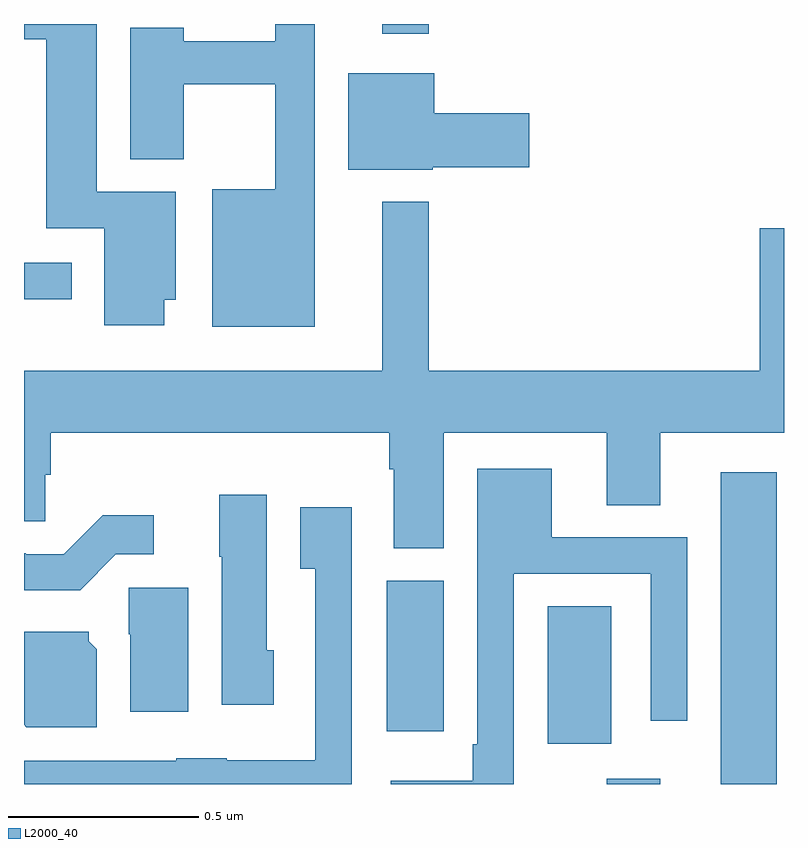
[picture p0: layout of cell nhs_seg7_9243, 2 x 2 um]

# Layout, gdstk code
import gdstk
lib = gdstk.Library(unit=1e-6, precision=1e-09)
def R(c, l, rs):  # rectangles x0, y0, x1, y1
    for r in rs: c.add(gdstk.rectangle(r[:2], r[2:], *l))
def P(c, l, *ps):  # polygons
    for p in ps: c.add(gdstk.Polygon(p, *l))
L2000_40 = (2000, 40)

nhs_seg7_9243 = lib.new_cell('nhs_seg7_9243')
R(nhs_seg7_9243, L2000_40, [(236.534,1025,236.674,1025.014), (236.834,1025,236.981,1025.821), (236.378,1025.106,236.545,1025.468), (235.955,1025.139,236.104,1025.535), (235,1026.276,235.126,1026.372), (235.943,1026.975,236.065,1027)])
P(nhs_seg7_9243, L2000_40, [(235.765,1027),(235.661,1027),(235.661,1026.955),(235.42,1026.955),(235.42,1026.99),(235.28,1026.99),(235.28,1026.644),(235.42,1026.644),(235.42,1026.841),(235.661,1026.841),(235.661,1026.565),(235.496,1026.565),(235.496,1026.203),(235.765,1026.203)],
  [(235.369,1026.275),(235.399,1026.275),(235.399,1026.558),(235.192,1026.558),(235.192,1027),(235,1027),(235,1026.96),(235.058,1026.96),(235.058,1026.462),(235.211,1026.462),(235.211,1026.207),(235.369,1026.207)],
  [(236.076,1026.623),(236.329,1026.623),(236.329,1026.765),(236.08,1026.765),(236.08,1026.871),(235.853,1026.871),(235.853,1026.617),(236.076,1026.617)],
  [(236.104,1025.924),(236.534,1025.924),(236.534,1025.734),(236.674,1025.734),(236.674,1025.924),(237,1025.924),(237,1026.463),(236.936,1026.463),(236.936,1026.088),(236.065,1026.088),(236.065,1026.532),(235.943,1026.532),(235.943,1026.088),(235,1026.088),(235,1025.692),(235.056,1025.692),(235.056,1025.814),(235.07,1025.814),(235.07,1025.924),(235.961,1025.924),(235.961,1025.828),(235.973,1025.828),(235.973,1025.62),(236.104,1025.62)],
  [(236.289,1025.553),(236.649,1025.553),(236.649,1025.166),(236.745,1025.166),(236.745,1025.649),(236.389,1025.649),(236.389,1025.83),(236.193,1025.83),(236.193,1025.104),(236.181,1025.104),(236.181,1025.008),(235.965,1025.008),(235.965,1025),(236.289,1025)],
  [(235.657,1025.352),(235.639,1025.352),(235.639,1025.761),(235.514,1025.761),(235.514,1025.598),(235.52,1025.598),(235.52,1025.208),(235.657,1025.208)],
  [(235.863,1025.728),(235.727,1025.728),(235.727,1025.567),(235.767,1025.567),(235.767,1025.062),(235.533,1025.062),(235.533,1025.068),(235.401,1025.068),(235.401,1025.061),(235,1025.061),(235,1025),(235.863,1025)],
  [(235.242,1025.604),(235.342,1025.604),(235.342,1025.707),(235.207,1025.707),(235.104,1025.604),(235.004,1025.604),(235.004,1025.607),(235,1025.607),(235,1025.51),(235.148,1025.51)],
  [(235.432,1025.517),(235.276,1025.517),(235.276,1025.394),(235.28,1025.394),(235.28,1025.19),(235.432,1025.19)],
  [(235.192,1025.354),(235.17,1025.376),(235.17,1025.401),(235,1025.401),(235,1025.156),(235.006,1025.15),(235.192,1025.15)])

lib.write_gds('nhs_seg7_9243.gds')
